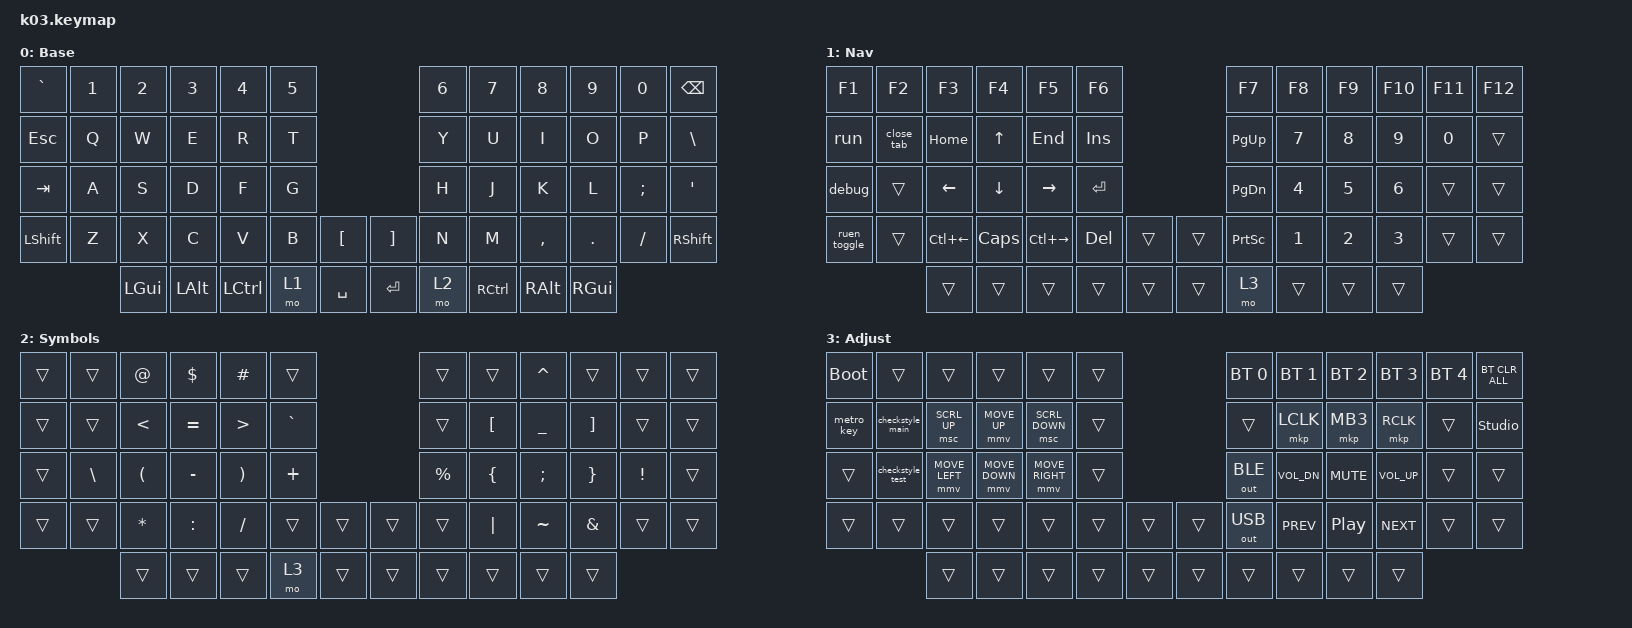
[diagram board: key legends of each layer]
#include "keys_ru.h"
#include <behaviors.dtsi>
#include <dt-bindings/zmk/bt.h>
#include <dt-bindings/zmk/keys.h>
#include <dt-bindings/zmk/outputs.h>
#include <dt-bindings/zmk/pointing.h>

&mmv { acceleration-exponent = <2>; };

/ {
    macros {
        run: run {
            compatible = "zmk,behavior-macro";
            #binding-cells = <0>;
            bindings = <&kp LC(F5)>;
            label = "RUN";
        };

        debug: debug {
            compatible = "zmk,behavior-macro";
            #binding-cells = <0>;
            bindings = <&kp LA(F5)>;
            label = "DEBUG";
        };

        explorer: explorer {
            compatible = "zmk,behavior-macro";
            #binding-cells = <0>;
            bindings = <&kp LA(LC(L))>;
            label = "EXPLORER";
        };

        close_menu: close_menu {
            compatible = "zmk,behavior-macro";
            #binding-cells = <0>;
            bindings = <&kp LS(ESC)>;
            label = "CLOSE_MENU";
        };

        close_tab: close_tab {
            compatible = "zmk,behavior-macro";
            #binding-cells = <0>;
            bindings = <&kp LC(F4)>;
            label = "CLOSE_TAB";
        };

        ruen_toggle: ruen_toggle {
            compatible = "zmk,behavior-macro";
            #binding-cells = <0>;
            bindings = <&kp LG(SPACE)>;
            label = "RUEN_TOGGLE";
        };

        metro_key: metro_key {
            compatible = "zmk,behavior-macro";
            #binding-cells = <0>;
            bindings = <&kp M &kp E &kp M &kp M &kp E &kp T &kp R &kp O &kp ENTER>;
            label = "METRO_KEY";
        };

        checkstyle_main: checkstyle_main {
            compatible = "zmk,behavior-macro";
            #binding-cells = <0>;
            bindings = <&kp DOT &kp FSLH &kp G &kp R &kp A &kp D &kp L &kp E &kp W &kp SPACE &kp C &kp H &kp E &kp C &kp K &kp S &kp T &kp Y &kp L &kp E &kp LS(M) &kp A &kp I &kp N &kp ENTER>;
            label = "CHECKSTYLE_MAIN";
        };

        checkstyle_test: checkstyle_test {
            compatible = "zmk,behavior-macro";
            #binding-cells = <0>;
            bindings = <&kp DOT &kp FSLH &kp G &kp R &kp A &kp D &kp L &kp E &kp W &kp SPACE &kp C &kp H &kp E &kp C &kp K &kp S &kp T &kp Y &kp L &kp E &kp LS(T) &kp E &kp S &kp T &kp ENTER>;
            label = "CHECKSTYLE_TEST";
        };
    };

    keymap {
        compatible = "zmk,keymap";

        base {
            bindings = <
&kp GRAVE  &kp N1  &kp N2    &kp N3    &kp N4     &kp N5                          &kp N6  &kp N7     &kp N8     &kp N9    &kp N0    &kp BSPC
&kp ESC    &kp Q   &kp W     &kp E     &kp R      &kp T                           &kp Y   &kp U      &kp I      &kp O     &kp P     &kp BSLH
&kp TAB    &kp A   &kp S     &kp D     &kp F      &kp G                           &kp H   &kp J      &kp K      &kp L     &kp SEMI  &kp SQT
&kp LSHFT  &kp Z   &kp X     &kp C     &kp V      &kp B   &kp LBKT     &kp RBKT   &kp N   &kp M      &kp COMMA  &kp DOT   &kp FSLH  &kp RSHFT
                   &kp LGUI  &kp LALT  &kp LCTRL  &mo 1   &kp SPACE    &kp ENTER  &mo 2   &kp RCTRL  &kp RALT   &kp RGUI
            >;

            display-name = "Base";
        };

        nav {
            bindings = <
&kp F1        &kp F2      &kp F3        &kp F4    &kp F5         &kp F6                     &kp F7           &kp F8  &kp F9  &kp F10  &kp F11  &kp F12
&run          &close_tab  &kp HOME      &kp UP    &kp END        &kp INS                    &kp PG_UP        &kp N7  &kp N8  &kp N9   &kp N0   &trans
&debug        &trans      &kp LEFT      &kp DOWN  &kp RIGHT      &kp RET                    &kp PG_DN        &kp N4  &kp N5  &kp N6   &trans   &trans
&ruen_toggle  &trans      &kp LC(LEFT)  &kp CAPS  &kp LC(RIGHT)  &kp DEL  &trans    &trans  &kp PRINTSCREEN  &kp N1  &kp N2  &kp N3   &trans   &trans
                          &trans        &trans    &trans         &trans   &trans    &trans  &mo 3            &trans  &trans  &trans
            >;

            display-name = "Nav";
        };

        sym {
            bindings = <
&trans  &trans    &kp AT    &kp DLLR   &kp HASH  &trans                       &trans     &trans    &kp CARET  &trans    &trans    &trans
&trans  &trans    &kp LT    &kp EQUAL  &kp GT    &kp GRAVE                    &trans     &kp LBKT  &kp UNDER  &kp RBKT  &trans    &trans
&trans  &kp BSLH  &kp LPAR  &kp MINUS  &kp RPAR  &kp PLUS                     &kp PRCNT  &kp LBRC  &kp SEMI   &kp RBRC  &kp EXCL  &trans
&trans  &trans    &kp STAR  &kp COLON  &kp FSLH  &trans     &trans    &trans  &trans     &kp PIPE  &kp TILDE  &kp AMPS  &trans    &trans
                  &trans    &trans     &trans    &mo 3      &trans    &trans  &trans     &trans    &trans     &trans
            >;

            display-name = "Symbols";
        };

        adj {
            bindings = <
&bootloader  &trans            &trans          &trans          &trans           &trans                    &bt BT_SEL 0  &bt BT_SEL 1  &bt BT_SEL 2      &bt BT_SEL 3  &bt BT_SEL 4  &bt BT_CLR_ALL
&metro_key   &checkstyle_main  &msc SCRL_UP    &mmv MOVE_UP    &msc SCRL_DOWN   &trans                    &trans        &mkp LCLK     &mkp MB3          &mkp RCLK     &trans        &studio_unlock
&trans       &checkstyle_test  &mmv MOVE_LEFT  &mmv MOVE_DOWN  &mmv MOVE_RIGHT  &trans                    &out OUT_BLE  &kp C_VOL_DN  &kp C_MUTE        &kp C_VOL_UP  &trans        &trans
&trans       &trans            &trans          &trans          &trans           &trans  &trans    &trans  &out OUT_USB  &kp C_PREV    &kp C_PLAY_PAUSE  &kp C_NEXT    &trans        &trans
                               &trans          &trans          &trans           &trans  &trans    &trans  &trans        &trans        &trans            &trans
            >;

            display-name = "Adjust";
        };
    };
};
